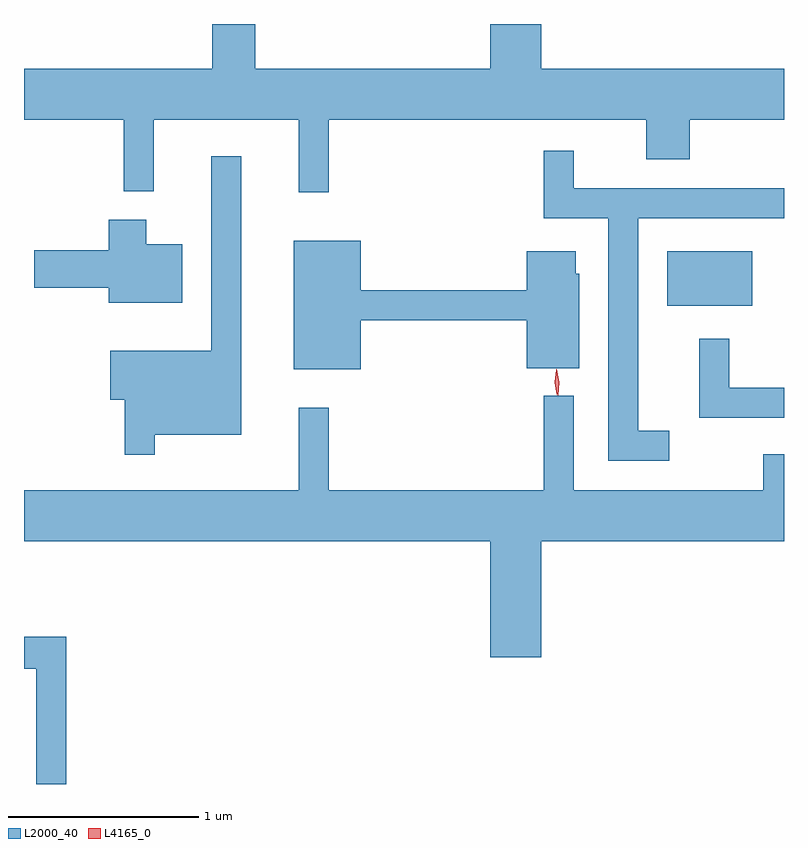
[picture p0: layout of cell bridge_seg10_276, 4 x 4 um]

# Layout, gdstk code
import gdstk
lib = gdstk.Library(unit=1e-6, precision=1e-09)
def R(c, l, rs):  # rectangles x0, y0, x1, y1
    for r in rs: c.add(gdstk.rectangle(r[:2], r[2:], *l))
def P(c, l, *ps):  # polygons
    for p in ps: c.add(gdstk.Polygon(p, *l))
L2000_40 = (2000, 40)
L4165_0 = (4165, 0)

bridge_seg10_276 = lib.new_cell('bridge_seg10_276')
R(bridge_seg10_276, L2000_40, [(1454.766,2181.756,1455.214,2182.044)])
P(bridge_seg10_276, L2000_40, [(1452.984,2182.736),(1454.656,2182.736),(1454.656,2182.526),(1454.884,2182.526),(1454.884,2182.736),(1455.381,2182.736),(1455.381,2183.004),(1454.104,2183.004),(1454.104,2183.239),(1453.836,2183.239),(1453.836,2183.004),(1452.599,2183.004),(1452.599,2183.239),(1452.371,2183.239),(1452.371,2183.004),(1451.381,2183.004),(1451.381,2182.736),(1451.906,2182.736),(1451.906,2182.358),(1452.064,2182.358),(1452.064,2182.736),(1452.826,2182.736),(1452.826,2182.353),(1452.984,2182.353)],
  [(1454.778,2181.099),(1454.614,2181.099),(1454.614,2182.216),(1455.381,2182.216),(1455.381,2182.374),(1454.274,2182.374),(1454.274,2182.573),(1454.116,2182.573),(1454.116,2182.216),(1454.456,2182.216),(1454.456,2180.941),(1454.778,2180.941)],
  [(1452.069,2181.076),(1452.524,2181.076),(1452.524,2182.543),(1452.366,2182.543),(1452.366,2181.519),(1451.836,2181.519),(1451.836,2181.261),(1451.911,2181.261),(1451.911,2180.973),(1452.069,2180.973)],
  [(1452.214,2182.079),(1452.024,2182.079),(1452.024,2182.209),(1451.826,2182.209),(1451.826,2182.049),(1451.436,2182.049),(1451.436,2181.851),(1451.826,2181.851),(1451.826,2181.771),(1452.214,2181.771)],
  [(1453.154,2181.681),(1454.026,2181.681),(1454.026,2181.426),(1454.304,2181.426),(1454.304,2181.924),(1454.284,2181.924),(1454.284,2182.044),(1454.026,2182.044),(1454.026,2181.839),(1453.154,2181.839),(1453.154,2182.099),(1452.801,2182.099),(1452.801,2181.421),(1453.154,2181.421)],
  [(1455.381,2181.324),(1455.094,2181.324),(1455.094,2181.583),(1454.936,2181.583),(1454.936,2181.166),(1455.381,2181.166)],
  [(1454.104,2180.516),(1455.381,2180.516),(1455.381,2180.974),(1455.271,2180.974),(1455.271,2180.784),(1454.274,2180.784),(1454.274,2181.283),(1454.116,2181.283),(1454.116,2180.784),(1452.984,2180.784),(1452.984,2181.218),(1452.826,2181.218),(1452.826,2180.784),(1451.381,2180.784),(1451.381,2180.516),(1453.836,2180.516),(1453.836,2179.906),(1454.104,2179.906)],
  [(1451.604,2180.014),(1451.381,2180.014),(1451.381,2179.846),(1451.446,2179.846),(1451.446,2179.239),(1451.604,2179.239)])
P(bridge_seg10_276, L4165_0, [(1454.191,2181.285),(1454.191,2181.285),(1454.177,2181.353),(1454.183,2181.421),(1454.184,2181.422),(1454.184,2181.421),(1454.197,2181.354),(1454.192,2181.285)],
  [(1454.185,2181.288),(1454.174,2181.353),(1454.181,2181.419),(1454.182,2181.419),(1454.182,2181.419),(1454.194,2181.354),(1454.186,2181.288),(1454.186,2181.288)])

lib.write_gds('bridge_seg10_276.gds')
